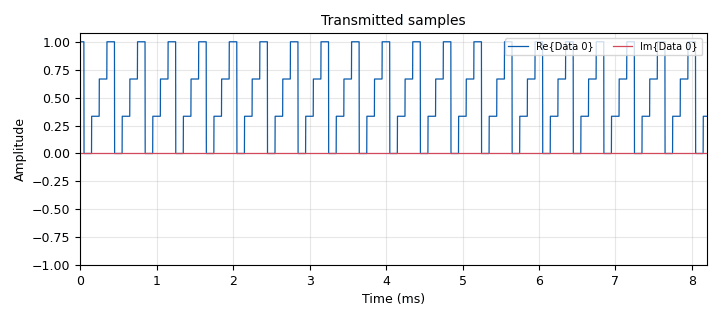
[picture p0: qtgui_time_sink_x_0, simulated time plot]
options:
  parameters:
    generate_options: qt_gui
    id: ASK_loopback_pluto
    output_language: python
    title: ASK_loopback_pluto
  states: {}

blocks:
- name: buff_size
  id: variable
  parameters:
    value: int(32768)
  states: {}
- name: lo_freq
  id: variable
  parameters:
    value: '2200000000'
  states: {}
- name: lo_offset
  id: variable
  parameters:
    value: '0'
  states: {}
- name: offset_tx
  id: variable_qtgui_range
  parameters:
    gui_hint: (0,0,1,2)
    label: Tx Offset
    start: '0'
    step: '1'
    stop: '250000'
    value: '170000'
  states: {}
- name: pluto_ip
  id: variable_config
  parameters:
    config_file: default
    option: key
    section: main
    type: string
    value: ip:192.168.2.1
    writeback: None
  states: {}
- name: rx_gain
  id: variable_qtgui_range
  parameters:
    label: Rx Gain
    start: '0'
    step: '1'
    stop: '60'
    value: '20'
  states: {}
- name: samp_rate
  id: variable
  parameters:
    value: '1000000'
  states: {}
- name: sps
  id: variable
  parameters:
    value: '100'
  states: {}
- name: tx_attenuation
  id: variable_qtgui_range
  parameters:
    label: Tx Attenuation
    start: '0'
    step: '1'
    stop: '89'
    value: '15'
  states: {}
- name: analog_sig_source_x_0
  id: analog_sig_source_x
  parameters:
    amp: '1'
    freq: offset_tx
    offset: '0'
    phase: '0'
    samp_rate: samp_rate
    type: complex
    waveform: analog.GR_COS_WAVE
  states: {}
- name: blocks_complex_to_mag_0
  id: blocks_complex_to_mag
  parameters: {}
  states: {}
- name: blocks_keep_one_in_n_0
  id: blocks_keep_one_in_n
  parameters:
    n: sps
    type: float
  states: {}
- name: blocks_multiply_xx_0
  id: blocks_multiply_xx
  parameters:
    type: complex
  states: {}
- name: blocks_repeat_0
  id: blocks_repeat
  parameters:
    interp: sps
    type: complex
  states: {}
- name: blocks_vector_source_x_0
  id: blocks_vector_source_x
  parameters:
    repeat: 'True'
    type: complex
    vector: (0.0, 1.0/3.0, 2.0/3.0, 1.0)
  states: {}
- name: iio_pluto_sink_0
  id: iio_pluto_sink
  parameters:
    attenuation1: tx_attenuation
    bandwidth: samp_rate
    buffer_size: buff_size
    cyclic: 'False'
    filter_source: '''Auto'''
    frequency: lo_freq + lo_offset
    samplerate: samp_rate
    type: fc32
    uri: pluto_ip
  states: {}
- name: iio_pluto_source_0
  id: iio_pluto_source
  parameters:
    bandwidth: samp_rate
    bbdc: 'True'
    buffer_size: buff_size
    filter_source: '''Auto'''
    frequency: lo_freq
    gain1: '''manual'''
    manual_gain1: rx_gain
    quadrature: 'True'
    rfdc: 'True'
    samplerate: samp_rate
    type: fc32
    uri: pluto_ip
  states: {}
- name: qtgui_const_sink_x_0
  id: qtgui_const_sink_x
  parameters:
    grid: 'True'
    gui_hint: (3,1,1,1)
    name: '"Received constellation"'
    size: '1024'
    type: complex
    update_time: '0.50'
  states: {}
- name: qtgui_freq_sink_x_0
  id: qtgui_freq_sink_x
  parameters:
    bw: samp_rate
    fc: '0'
    fftsize: '1024'
    grid: 'True'
    gui_hint: (3,0,1,1)
    name: '"Received spectrum"'
    type: complex
  states: {}
- name: qtgui_time_sink_x_0
  id: qtgui_time_sink_x
  parameters:
    grid: 'True'
    gui_hint: (1,0,1,2)
    name: '"Transmitted samples"'
    size: 1024*8
    srate: samp_rate
    type: complex
  states: {}
- name: qtgui_time_sink_x_1
  id: qtgui_time_sink_x
  parameters:
    grid: 'True'
    gui_hint: (2,0,1,2)
    name: '"Received Samples"'
    size: 1024*8
    srate: samp_rate
    type: complex
    ymax: '1.5'
    ymin: '-1.5'
  states: {}
- name: qtgui_time_sink_x_2
  id: qtgui_time_sink_x
  parameters:
    grid: 'True'
    gui_hint: (4,0,1,1)
    marker1: '0'
    name: '"Magnitude Rx"'
    size: 1024*8
    srate: samp_rate
    type: float
    ymax: '1.5'
    ymin: '-1.5'
  states: {}
- name: qtgui_time_sink_x_2_0
  id: qtgui_time_sink_x
  parameters:
    grid: 'True'
    gui_hint: (4,1,1,1)
    marker1: '0'
    name: '"1 in 100 Magnitude Rx"'
    size: '100'
    srate: samp_rate
    type: float
    ymax: '1.5'
    ymin: '-1.5'
  states: {}

connections:
- [analog_sig_source_x_0, '0', blocks_multiply_xx_0, '1']
- [blocks_complex_to_mag_0, '0', blocks_keep_one_in_n_0, '0']
- [blocks_complex_to_mag_0, '0', qtgui_time_sink_x_2, '0']
- [blocks_keep_one_in_n_0, '0', qtgui_time_sink_x_2_0, '0']
- [blocks_multiply_xx_0, '0', iio_pluto_sink_0, '0']
- [blocks_repeat_0, '0', blocks_multiply_xx_0, '0']
- [blocks_repeat_0, '0', qtgui_time_sink_x_0, '0']
- [blocks_vector_source_x_0, '0', blocks_repeat_0, '0']
- [iio_pluto_source_0, '0', blocks_complex_to_mag_0, '0']
- [iio_pluto_source_0, '0', qtgui_const_sink_x_0, '0']
- [iio_pluto_source_0, '0', qtgui_freq_sink_x_0, '0']
- [iio_pluto_source_0, '0', qtgui_time_sink_x_1, '0']

metadata:
  file_format: 1
  grc_version: 3.10.11.0
